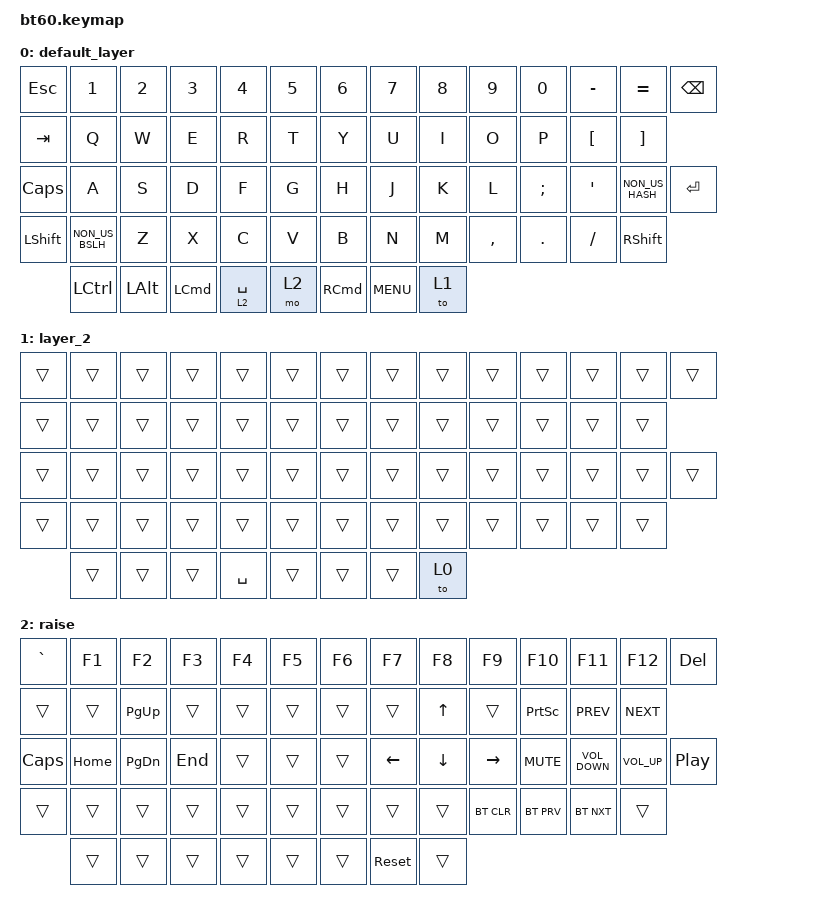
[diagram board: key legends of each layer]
#include <behaviors.dtsi>
#include <dt-bindings/zmk/bt.h>
#include <dt-bindings/zmk/keys.h>

/ {
    keymap {
        compatible = "zmk,keymap";

        default_layer {
            // ------------------------------------------------------------------------------------------
            // |  `  |  1  |  2  |  3  |  4  |  5  |  6  |  7  |  8  |  9  |  0  |  -  |  =  |   BKSP
            // | TAB  |  Q  |  W  |  E  |  R  |  T  |  Y  |  U  |  I  |  O  |  P  |  [  |  ]  |        |
            // | CAPS  |  A  |  S  |  D  |  F  |  G  |  H  |  J  |  K  |  L  |  ;  |  '  |  #  | ENTER |
            // |  SHIFT|  \ |  Z  |  X  |  C  |  V  |  B  |  N  |  M  |  ,  |  .  | /   |    SHIFT    |
            // |  CTL  |  WIN  |  ALT  |            SPACE               | ALT | 1    |  MENU    |  CTRL|
            // ------------------------------------------------------------------------------------------

            bindings = <
&kp ESC    &kp N1           &kp N2    &kp N3    &kp N4       &kp N5  &kp N6    &kp N7      &kp N8  &kp N9     &kp N0    &kp MINUS  &kp EQUAL        &kp BSPC
&kp TAB    &kp Q            &kp W     &kp E     &kp R        &kp T   &kp Y     &kp U       &kp I   &kp O      &kp P     &kp LBKT   &kp RBKT
&kp CAPS   &kp A            &kp S     &kp D     &kp F        &kp G   &kp H     &kp J       &kp K   &kp L      &kp SEMI  &kp SQT    &kp NON_US_HASH  &kp RET
&kp LSHFT  &kp NON_US_BSLH  &kp Z     &kp X     &kp C        &kp V   &kp B     &kp N       &kp M   &kp COMMA  &kp DOT   &kp FSLH   &kp RSHFT
           &kp LCTRL        &kp LALT  &kp LCMD  &lt 2 SPACE  &mo 2   &kp RCMD  &kp C_MENU  &to 1
            >;
        };

        layer_2 {
            bindings = <
&trans  &trans  &trans  &trans  &trans     &trans  &trans  &trans  &trans  &trans  &trans  &trans  &trans  &trans
&trans  &trans  &trans  &trans  &trans     &trans  &trans  &trans  &trans  &trans  &trans  &trans  &trans
&trans  &trans  &trans  &trans  &trans     &trans  &trans  &trans  &trans  &trans  &trans  &trans  &trans  &trans
&trans  &trans  &trans  &trans  &trans     &trans  &trans  &trans  &trans  &trans  &trans  &trans  &trans
        &trans  &trans  &trans  &kp SPACE  &trans  &trans  &trans  &to 0
            >;
        };

        raise {
            bindings = <
&kp GRAVE  &kp F1    &kp F2         &kp F3   &kp F4  &kp F5  &kp F6  &kp F7      &kp F8          &kp F9           &kp F10     &kp F11            &kp F12          &kp DEL
&trans     &trans    &kp PAGE_UP    &trans   &trans  &trans  &trans  &trans      &kp UP_ARROW    &trans           &kp PSCRN   &kp C_PREV         &kp C_NEXT
&kp CAPS   &kp HOME  &kp PAGE_DOWN  &kp END  &trans  &trans  &trans  &kp LEFT    &kp DOWN_ARROW  &kp RIGHT_ARROW  &kp C_MUTE  &kp C_VOLUME_DOWN  &kp C_VOLUME_UP  &kp C_PLAY_PAUSE
&trans     &trans    &trans         &trans   &trans  &trans  &trans  &trans      &trans          &bt BT_CLR       &bt BT_PRV  &bt BT_NXT         &trans
           &trans    &trans         &trans   &trans  &trans  &trans  &sys_reset  &trans
            >;
        };
    };
};
